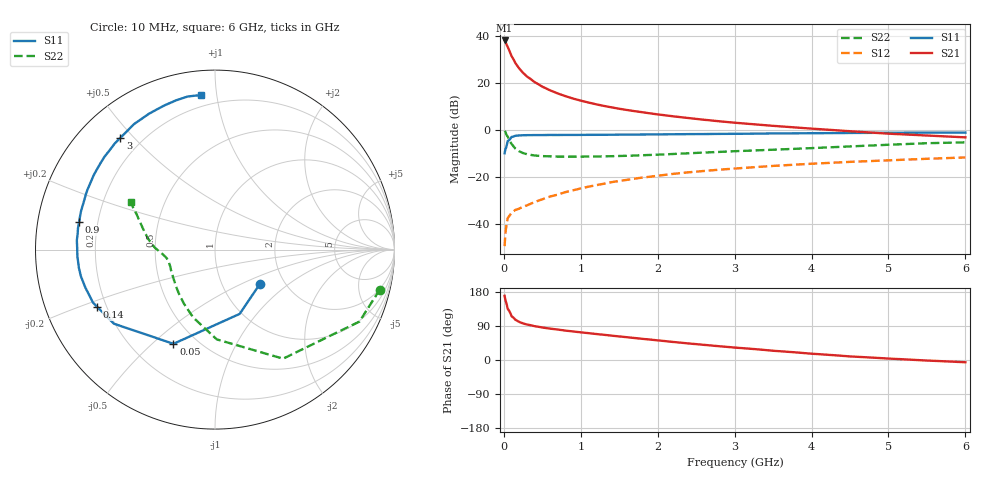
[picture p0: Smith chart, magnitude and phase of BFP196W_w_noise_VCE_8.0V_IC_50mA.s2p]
! (c) 2017  Infineon Technologies AG, Munich
! Infineon Technologies  Discrete & RF Semiconductors
! BFP196W
! VCE =  8.0 V,  IC =  50 mA
! Common Emitter S-Parameters:  Jan 2017
# GHz  S  MA  R  50
!  f  S11  S21  S12  S22
! GHz  MAG  ANG  MAG  ANG  MAG  ANG  MAG  ANG
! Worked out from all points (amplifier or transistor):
!   77 points, 10 MHz to 6 GHz, reference 50 ohm
!   highest |S21| = 38.0 dB at 10 MHz (marker M1)
!   |S21| within 3 dB of that: start of sweep to 53.42 MHz
!   unconditionally stable (mu >= 1): 684.4 MHz to 3.264 GHz
!   at 130 MHz: K = 0.40, MSG = 32.2 dB, |S12| = -34.7 dB
!   at 2.2 GHz: K = 1.04, MAG = 11.1 dB, |S12| = -18.8 dB
!   at 6 GHz: K = 0.93, MSG = 4.3 dB, |S12| = -11.8 dB
!   lowest NFmin = 1.36 dB at 450 MHz
!   S11 on the Smith chart (normalised r, x): 10 MHz: 1.49, -0.64; 50 MHz: 0.37, -0.59; 140 MHz: 0.16, -0.22; 900 MHz: 0.13, +0.10; 3 GHz: 0.12, +0.46; 6 GHz: 0.13, +0.90
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0.01  0.3151 -38.0  79.55 169.3  0.0033 81.1  0.9445 -13.7
0.02  0.3836 -69.0  75.61 158.4  0.0061 73.9  0.8992 -26.5
0.05  0.5737 -113.8  57.92 135.2  0.013 53.5  0.7165 -58.0
0.1  0.6986 -143.8  36.99 115.5  0.0168 44.1  0.5002 -88.9
0.14  0.7299 -154.1  28.33 108.6  0.019 41.3  0.413 -103.5
0.15  0.7412 -156.5  26.25 106.2  0.0195 40.7  0.3964 -108.0
0.2  0.7527 -163.7  20.11 100.5  0.0208 42.8  0.347 -120.0
0.25  0.7617 -168.7  16.25 96.5  0.0229 44.4  0.3177 -129.2
0.3  0.765 -172.2  13.6 93.7  0.0244 46.1  0.3003 -135.9
0.4  0.7677 -177.2  10.31 89.2  0.0287 51.0  0.2821 -145.0
0.5  0.7682 179.0  8.263 85.8  0.0329 54.5  0.2737 -151.1
0.6  0.7715 176.1  6.908 82.8  0.0376 56.8  0.2702 -155.4
0.7  0.7703 173.4  5.919 80.4  0.0414 58.6  0.2667 -158.5
0.9  0.7721 168.5  4.601 75.3  0.0512 60.7  0.2664 -162.8
1.1  0.7764 164.3  3.788 70.9  0.0611 61.7  0.2676 -165.7
1.5  0.7834 156.4  2.791 62.2  0.0807 61.3  0.2754 -170.4
2.1  0.7962 145.0  2.021 49.8  0.1093 57.6  0.2986 -176.1
3  0.8162 130.2  1.407 32.8  0.1485 50.3  0.3476 176.1
3.1  0.8183 128.7  1.365 31.3  0.1525 49.5  0.3527 175.1
4.1  0.8429 114.5  1.027 15.3  0.1916 41.4  0.4114 164.8
5.1  0.8605 103.7  0.807 2.8  0.2257 33.5  0.4847 155.2
6  0.8646 95.3  0.686 -6.0  0.2562 26.5  0.5375 150.2
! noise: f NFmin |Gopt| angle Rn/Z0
0.45  1.36  0.51  -177  0.05
0.9  1.48  0.55  -171  0.07
1.9  2.3  0.69  -149  0.16
2.4  2.7  0.73  -144  0.26
